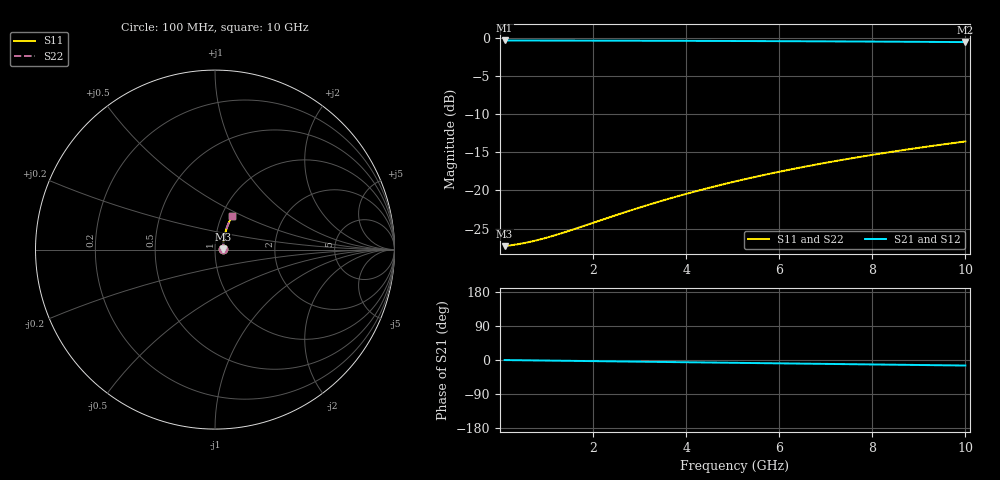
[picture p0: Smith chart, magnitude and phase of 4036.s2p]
# Hz S RI R 50.00
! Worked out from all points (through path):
!   100 points, 100 MHz to 10 GHz, reference 50 ohm
!   highest |S21| = -0.38 dB at 100 MHz (marker M1); lowest = -0.6 dB at 10 GHz (marker M2)
!   group delay of S21, straight-line fit = 4.06 ps
!   lowest |S11| = -27.3 dB at 100 MHz (marker M3), VSWR 1.09, Z = 54.5 + j0.216 ohm
!   |S11| at or under -10 dB: start of sweep to end of sweep
!   |S22| runs from -27.3 to -13.6 dB; largest |S21 - S12| = 0
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1e8  0.0431 0.00198  0.9569 -0.00247  0.9569 -0.00247  0.0431 0.00198
3e8  0.0436 0.00594  0.9564 -0.00742  0.9564 -0.00742  0.0436 0.00594
5e8  0.0439 0.00989  0.956 -0.0124  0.956 -0.0124  0.0439 0.00989
8e8  0.0445 0.0158  0.9555 -0.0198  0.9555 -0.0198  0.0445 0.0158
1e9  0.0448 0.0198  0.9552 -0.0247  0.9552 -0.0247  0.0448 0.0198
1.2e9  0.0452 0.0237  0.9548 -0.0296  0.9548 -0.0296  0.0452 0.0237
1.5e9  0.0458 0.0296  0.9542 -0.037  0.9542 -0.037  0.0458 0.0296
1.8e9  0.0464 0.0355  0.9535 -0.0443  0.9535 -0.0443  0.0464 0.0355
2.7e9  0.0489 0.053  0.951 -0.0663  0.951 -0.0663  0.0489 0.053
3.1e9  0.0502 0.0608  0.9497 -0.0761  0.9497 -0.0761  0.0502 0.0608
3.4e9  0.0513 0.0666  0.9486 -0.0833  0.9486 -0.0833  0.0513 0.0666
3.8e9  0.0528 0.0743  0.947 -0.093  0.947 -0.093  0.0528 0.0743
4.2e9  0.0545 0.0819  0.9452 -0.1026  0.9452 -0.1026  0.0545 0.0819
4.6e9  0.0564 0.0895  0.9433 -0.1122  0.9433 -0.1122  0.0564 0.0895
5.1e9  0.0589 0.099  0.9407 -0.1241  0.9407 -0.1241  0.0589 0.099
5.5e9  0.0611 0.1065  0.9385 -0.1336  0.9385 -0.1336  0.0611 0.1065
5.9e9  0.0634 0.1139  0.9361 -0.143  0.9361 -0.143  0.0634 0.1139
6.7e9  0.0685 0.1285  0.9309 -0.1616  0.9309 -0.1616  0.0685 0.1285
7.5e9  0.0742 0.1429  0.9251 -0.18  0.9251 -0.18  0.0742 0.1429
8.4e9  0.0812 0.1588  0.9179 -0.2003  0.9179 -0.2003  0.0812 0.1588
9.2e9  0.088 0.1725  0.9109 -0.2179  0.9109 -0.2179  0.088 0.1725
1e10  0.0953 0.1858  0.9035 -0.2353  0.9035 -0.2353  0.0953 0.1858
